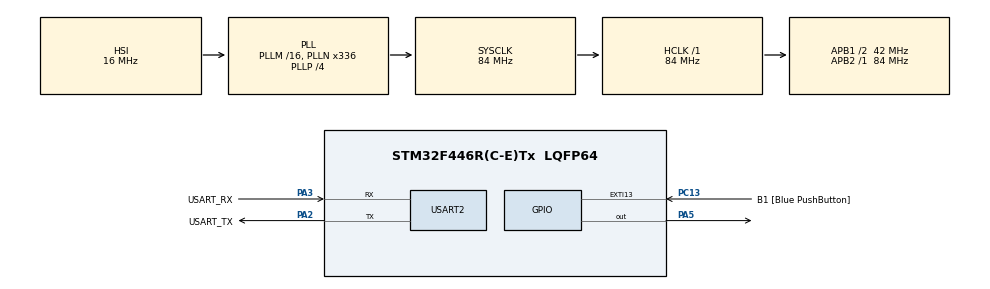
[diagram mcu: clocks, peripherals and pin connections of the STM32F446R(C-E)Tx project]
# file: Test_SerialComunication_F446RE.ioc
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Mcu.Family=STM32F4
Mcu.Name=STM32F446R(C-E)Tx
Mcu.Package=LQFP64
NVIC.PriorityGroup=NVIC_PRIORITYGROUP_0
NVIC.USART2_IRQn=true\:0\:0\:false\:false\:true\:true\:true\:true
PA13.GPIO_Label=TMS
PA13.Mode=Serial_Wire
PA13.Signal=SYS_JTMS-SWDIO
PA14.GPIO_Label=TCK
PA14.Mode=Serial_Wire
PA14.Signal=SYS_JTCK-SWCLK
PA2.GPIO_Label=USART_TX
PA2.Mode=Asynchronous
PA2.Signal=USART2_TX
PA3.GPIO_Label=USART_RX
PA3.Mode=Asynchronous
PA3.Signal=USART2_RX
PA5.Signal=GPIO_Output
PB3.GPIO_Label=SWO
PB3.Signal=SYS_JTDO-SWO
PC13.GPIO_Label=B1 [Blue PushButton]
PC13.GPIO_ModeDefaultEXTI=GPIO_MODE_IT_FALLING
PC13.Signal=GPXTI13
PC14-OSC32_IN.Mode=LSE-External-Oscillator
PC14-OSC32_IN.Signal=RCC_OSC32_IN
PC15-OSC32_OUT.Mode=LSE-External-Oscillator
PC15-OSC32_OUT.Signal=RCC_OSC32_OUT
PH0-OSC_IN.Mode=HSE-External-Oscillator
PH0-OSC_IN.Signal=RCC_OSC_IN
PH1-OSC_OUT.Mode=HSE-External-Oscillator
PH1-OSC_OUT.Signal=RCC_OSC_OUT
ProjectManager.HeapSize=0x200
ProjectManager.StackSize=0x400
ProjectManager.TargetToolchain=STM32CubeIDE
RCC.48MHZClocksFreq_Value=84000000
RCC.AHBFreq_Value=84000000
RCC.APB1CLKDivider=RCC_HCLK_DIV2
RCC.APB1Freq_Value=42000000
RCC.APB1TimFreq_Value=84000000
RCC.APB2Freq_Value=84000000
RCC.APB2TimFreq_Value=84000000
RCC.CortexFreq_Value=84000000
RCC.FLatency-AdvancedSettings=FLASH_LATENCY_2
RCC.HCLKFreq_Value=84000000
RCC.HSE_VALUE=8000000
RCC.HSI_VALUE=16000000
RCC.PLLN=336
RCC.PLLP=RCC_PLLP_DIV4
RCC.SYSCLKFreq_VALUE=84000000
RCC.SYSCLKSource=RCC_SYSCLKSOURCE_PLLCLK
RCC.USBFreq_Value=168000000
RCC.VCOOutputFreq_Value=336000000
USART2.VirtualMode=VM_ASYNC
board=NUCLEO-F446RE

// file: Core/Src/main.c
/* USER CODE BEGIN Header */
/**
  ******************************************************************************
  * @file           : main.c
  * @brief          : Main program body
  ******************************************************************************
  * @attention
  *
  * Copyright (c) 2024 STMicroelectronics.
  * All rights reserved.
  *
  * This software is licensed under terms that can be found in the LICENSE file
  * in the root directory of this software component.
  * If no LICENSE file comes with this software, it is provided AS-IS.
  *
  ******************************************************************************
  */
/* USER CODE END Header */
#include "main.h"
#include <stdio.h>
#include <stdlib.h>
#include <math.h>
#include <time.h>
#include <string.h>

UART_HandleTypeDef huart2;

/* USER CODE BEGIN PV */
uint8_t send_data[20] = "Hello world\r\n";

uint8_t rx_idx;
uint8_t rx_data[2];
uint8_t rx_buffer[100];
uint8_t rx_cmdGetData[6];
uint8_t transfer_cplt;
//uint8_t respone_data[100] = "";

/* USER CODE END PV */

void SystemClock_Config(void);
static void MX_GPIO_Init(void);
static void MX_USART2_UART_Init(void);
int Random_Number(int min_num, int max_num);
double randfrom(double min, double max);

int main(void)
{

  /* MCU Configuration--------------------------------------------------------*/

  /* Reset of all peripherals, Initializes the Flash interface and the Systick. */
  HAL_Init();

  /* Configure the system clock */
  SystemClock_Config();

  /* Initialize all configured peripherals */
  MX_GPIO_Init();
  MX_USART2_UART_Init();
  //HAL_UART_Receive_IT(&huart2, rx_data, 1);
  HAL_UART_Receive_IT(&huart2, rx_cmdGetData, 6);

  /* Infinite loop */
  while (1)
  {
	  //HAL_UART_Transmit(&huart2, send_data, sizeof(send_data), 10);
	  //HAL_Delay(1000);
  }
}

void SystemClock_Config(void)
{
  RCC_OscInitTypeDef RCC_OscInitStruct = {0};
  RCC_ClkInitTypeDef RCC_ClkInitStruct = {0};

  /** Configure the main internal regulator output voltage
  */
  __HAL_RCC_PWR_CLK_ENABLE();
  __HAL_PWR_VOLTAGESCALING_CONFIG(PWR_REGULATOR_VOLTAGE_SCALE3);

  /** Initializes the RCC Oscillators according to the specified parameters
  * in the RCC_OscInitTypeDef structure.
  */
  RCC_OscInitStruct.OscillatorType = RCC_OSCILLATORTYPE_HSI;
  RCC_OscInitStruct.HSIState = RCC_HSI_ON;
  RCC_OscInitStruct.HSICalibrationValue = RCC_HSICALIBRATION_DEFAULT;
  RCC_OscInitStruct.PLL.PLLState = RCC_PLL_ON;
  RCC_OscInitStruct.PLL.PLLSource = RCC_PLLSOURCE_HSI;
  RCC_OscInitStruct.PLL.PLLM = 16;
  RCC_OscInitStruct.PLL.PLLN = 336;
  RCC_OscInitStruct.PLL.PLLP = RCC_PLLP_DIV4;
  RCC_OscInitStruct.PLL.PLLQ = 2;
  RCC_OscInitStruct.PLL.PLLR = 2;
  if (HAL_RCC_OscConfig(&RCC_OscInitStruct) != HAL_OK)
  {
    Error_Handler();
  }

  /** Initializes the CPU, AHB and APB buses clocks
  */
  RCC_ClkInitStruct.ClockType = RCC_CLOCKTYPE_HCLK|RCC_CLOCKTYPE_SYSCLK
                              |RCC_CLOCKTYPE_PCLK1|RCC_CLOCKTYPE_PCLK2;
  RCC_ClkInitStruct.SYSCLKSource = RCC_SYSCLKSOURCE_PLLCLK;
  RCC_ClkInitStruct.AHBCLKDivider = RCC_SYSCLK_DIV1;
  RCC_ClkInitStruct.APB1CLKDivider = RCC_HCLK_DIV2;
  RCC_ClkInitStruct.APB2CLKDivider = RCC_HCLK_DIV1;

  if (HAL_RCC_ClockConfig(&RCC_ClkInitStruct, FLASH_LATENCY_2) != HAL_OK)
  {
    Error_Handler();
  }
}

static void MX_USART2_UART_Init(void)
{

  huart2.Instance = USART2;
  huart2.Init.BaudRate = 115200;
  huart2.Init.WordLength = UART_WORDLENGTH_8B;
  huart2.Init.StopBits = UART_STOPBITS_1;
  huart2.Init.Parity = UART_PARITY_NONE;
  huart2.Init.Mode = UART_MODE_TX_RX;
  huart2.Init.HwFlowCtl = UART_HWCONTROL_NONE;
  huart2.Init.OverSampling = UART_OVERSAMPLING_16;
  if (HAL_UART_Init(&huart2) != HAL_OK)
  {
    Error_Handler();
  }

}

static void MX_GPIO_Init(void)
{
  GPIO_InitTypeDef GPIO_InitStruct = {0};

  /* GPIO Ports Clock Enable */
  __HAL_RCC_GPIOC_CLK_ENABLE();
  __HAL_RCC_GPIOH_CLK_ENABLE();
  __HAL_RCC_GPIOA_CLK_ENABLE();
  __HAL_RCC_GPIOB_CLK_ENABLE();

  /*Configure GPIO pin Output Level */
  HAL_GPIO_WritePin(GPIOA, GPIO_PIN_5, GPIO_PIN_RESET);

  /*Configure GPIO pin : B1_Pin */
  GPIO_InitStruct.Pin = B1_Pin;
  GPIO_InitStruct.Mode = GPIO_MODE_IT_FALLING;
  GPIO_InitStruct.Pull = GPIO_NOPULL;
  HAL_GPIO_Init(B1_GPIO_Port, &GPIO_InitStruct);

  /*Configure GPIO pin : PA5 */
  GPIO_InitStruct.Pin = GPIO_PIN_5;
  GPIO_InitStruct.Mode = GPIO_MODE_OUTPUT_PP;
  GPIO_InitStruct.Pull = GPIO_NOPULL;
  GPIO_InitStruct.Speed = GPIO_SPEED_FREQ_LOW;
  HAL_GPIO_Init(GPIOA, &GPIO_InitStruct);

}

/* USER CODE BEGIN 4 */

int random_number_integer(int min, int max) {
    //srand(time(NULL));
    return (rand() % (max - min + 1)) + min;
}

int Random_Number(int min_num, int max_num)
{
  int result = 0, low_num = 0, hi_num = 0;

  if (min_num < max_num)
  {
    low_num = min_num;
    hi_num = max_num + 1; // include max_num in output
  }
  else
  {
    low_num = max_num + 1; // include max_num in output
    hi_num = min_num;
  }

  //srand(time(NULL));
  result = (rand() % (hi_num - low_num)) + low_num;
  return result;
}

/* generate a random floating point number from min to max */
double randfrom(double min, double max)
{
    double range = (max - min);
    double div = RAND_MAX / range;
    return min + (rand() / div);
}

double drand ( double low, double high )
{
    srand((unsigned int)clock());
    return ( (double)rand() * ( high - low ) ) / (double)RAND_MAX + low;
}

void HAL_UART_RxCpltCallback(UART_HandleTypeDef *huart)
{
  /* Prevent unused argument(s) compilation warning */
  UNUSED(huart);
  /* NOTE: This function should not be modified, when the callback is needed,
           the HAL_UART_RxCpltCallback could be implemented in the user file
   */

  /*uint8_t i;
  if(huart->Instance == USART2)
  {
    if(rx_idx == 0){
  	  for(i = 0; i < 100; i++)
  		  rx_buffer[i] = 0;
  	  HAL_GPIO_WritePin(GPIOA, GPIO_PIN_5, GPIO_PIN_RESET);
    }
    if(rx_data[0] != 13){
  	  rx_buffer[rx_idx++] = rx_data[0];
    }
    else{
  	  rx_idx = 0;
  	  transfer_cplt = 1;
  	  HAL_UART_Transmit(&huart2, "\n\r", 2, 100);
  	  if(!strcmp(rx_buffer, "GETRES"))
  	  {
  		    double speed = randfrom(1.0, 15.0);
            double temp_engine = randfrom(20.0, 100.0);
            double temp_PIN = randfrom(20.0, 100.0);
            double o2_concentration = randfrom(5.0, 19.5);
            double co_concentration = randfrom(0.0, 20.0);
            double lle_concentration = randfrom(0.0, 20.0);
            double temp_env = randfrom(18.0, 40.0);
  		    uint8_t Robot_PIN_percent = random_number_integer(10, 100);
  		    uint8_t RC_PIN_percent = random_number_integer(10, 100);

            unsigned char respone_data[100];
            sprintf(respone_data, "%.1f|%.1f|%.1f|%.1f|%.1f|%.1f|%.1f|%d|%d", speed, temp_engine, temp_PIN, o2_concentration, co_concentration, lle_concentration, temp_env, Robot_PIN_percent, RC_PIN_percent);

            HAL_GPIO_WritePin(GPIOA, GPIO_PIN_5, GPIO_PIN_SET);
  		    HAL_UART_Transmit(&huart2, respone_data, strlen(respone_data), 100);
  	  }
    }
    HAL_UART_Receive_IT(&huart2, rx_data, 1);
	HAL_UART_Transmit(&huart2, rx_data, strlen(rx_data), 100);
  }*/

  if(huart->Instance == USART2){
	  if(!strcmp(rx_cmdGetData, "GETRES")){
		  //HAL_UART_Transmit(&huart2, "\n\r", 2, 100);

		  double speed = randfrom(1.0, 15.0);
		  double temp_engine = randfrom(20.0, 100.0);
		  double temp_PIN = randfrom(20.0, 100.0);
		  double o2_concentration = randfrom(5.0, 19.5);
		  double co_concentration = randfrom(0.0, 20.0);
		  double lle_concentration = randfrom(0.0, 20.0);
		  double temp_env = randfrom(18.0, 40.0);
		  uint8_t Robot_PIN_percent = random_number_integer(10, 100);
		  uint8_t RC_PIN_percent = random_number_integer(10, 100);

		  unsigned char respone_data[100];
		  sprintf(respone_data, "%.1f|%.1f|%.1f|%.1f|%.1f|%.1f|%.1f|%d|%d", speed, temp_engine, temp_PIN, o2_concentration, co_concentration, lle_concentration, temp_env, Robot_PIN_percent, RC_PIN_percent);

		 //HAL_GPIO_WritePin(GPIOA, GPIO_PIN_5, GPIO_PIN_SET);
		 HAL_UART_Transmit(&huart2, respone_data, strlen(respone_data), 100);

		 for(uint8_t i = 0; i < 6; i++)
			 rx_cmdGetData[i] = 0;
		 //HAL_GPIO_WritePin(GPIOA, GPIO_PIN_5, GPIO_PIN_RESET);
		 //HAL_UART_Transmit(&huart2, "\n\r", 2, 100);
	  }
  }
  HAL_UART_Receive_IT(&huart2, rx_cmdGetData, 6);
}

/* USER CODE END 4 */

void Error_Handler(void)
{
  __disable_irq();
  while (1)
  {
  }
}
